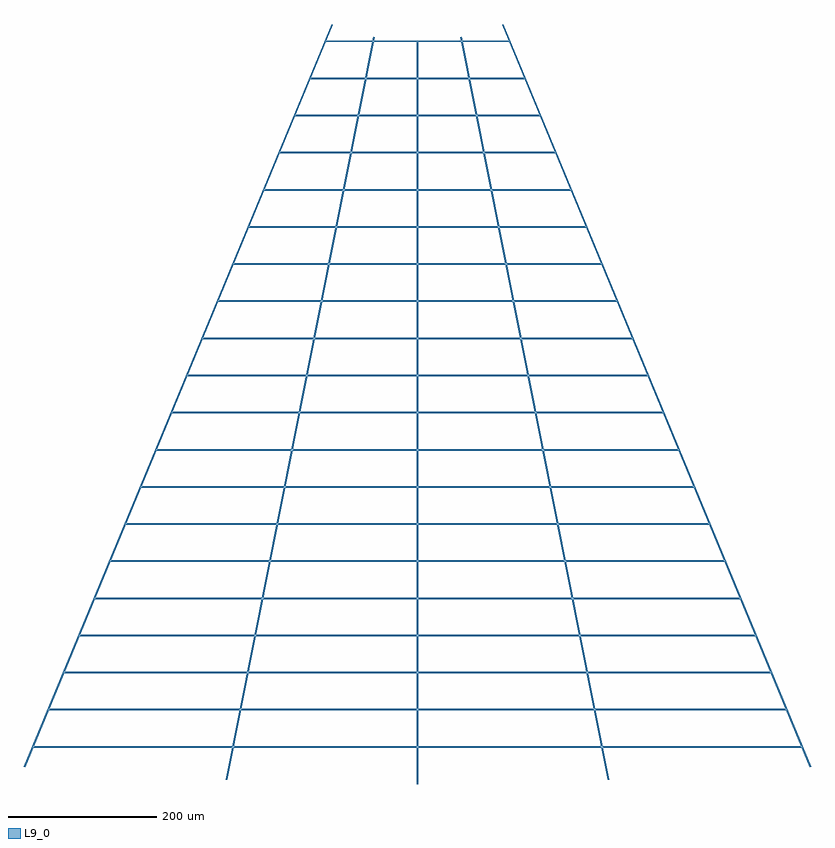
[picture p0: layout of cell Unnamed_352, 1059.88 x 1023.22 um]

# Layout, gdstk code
from math import pi, radians
import gdstk
lib = gdstk.Library(unit=1e-6, precision=1e-09)
def R(c, l, rs):  # rectangles x0, y0, x1, y1
    for r in rs: c.add(gdstk.rectangle(r[:2], r[2:], *l))
L9_0 = (9, 0)

unnamed_377 = lib.new_cell('Unnamed_377')
R(unnamed_377, L9_0, [(0,-1,1082.392,1)])

unnamed_362 = lib.new_cell('Unnamed_362')
R(unnamed_362, L9_0, [(0,-1,621.32,1)])

unnamed_374 = lib.new_cell('Unnamed_374')
R(unnamed_374, L9_0, [(0,-1,1019.591,1)])

unnamed_363 = lib.new_cell('Unnamed_363')
R(unnamed_363, L9_0, [(0,-1,662.742,1)])

unnamed_373 = lib.new_cell('Unnamed_373')
R(unnamed_373, L9_0, [(0,-1,1082.392,1)])

unnamed_376 = lib.new_cell('Unnamed_376')
R(unnamed_376, L9_0, [(0,-1,1019.591,1)])

unnamed_367 = lib.new_cell('Unnamed_367')
R(unnamed_367, L9_0, [(0,-1,828.427,1)])

unnamed_366 = lib.new_cell('Unnamed_366')
R(unnamed_366, L9_0, [(0,-1,787.006,1)])

unnamed_375 = lib.new_cell('Unnamed_375')
R(unnamed_375, L9_0, [(0,-1,1000,1)])

unnamed_365 = lib.new_cell('Unnamed_365')
R(unnamed_365, L9_0, [(0,-1,745.584,1)])

unnamed_364 = lib.new_cell('Unnamed_364')
R(unnamed_364, L9_0, [(0,-1,704.163,1)])

unnamed_371 = lib.new_cell('Unnamed_371')
R(unnamed_371, L9_0, [(0,-1,994.113,1)])

unnamed_361 = lib.new_cell('Unnamed_361')
R(unnamed_361, L9_0, [(0,-1,579.899,1)])

unnamed_370 = lib.new_cell('Unnamed_370')
R(unnamed_370, L9_0, [(0,-1,952.691,1)])

unnamed_360 = lib.new_cell('Unnamed_360')
R(unnamed_360, L9_0, [(0,-1,538.478,1)])

unnamed_369 = lib.new_cell('Unnamed_369')
R(unnamed_369, L9_0, [(0,-1,911.27,1)])

unnamed_359 = lib.new_cell('Unnamed_359')
R(unnamed_359, L9_0, [(0,-1,497.056,1)])

unnamed_368 = lib.new_cell('Unnamed_368')
R(unnamed_368, L9_0, [(0,-1,869.848,1)])

unnamed_358 = lib.new_cell('Unnamed_358')
R(unnamed_358, L9_0, [(0,-1,455.635,1)])

unnamed_357 = lib.new_cell('Unnamed_357')
R(unnamed_357, L9_0, [(0,-1,414.214,1)])

unnamed_355 = lib.new_cell('Unnamed_355')
R(unnamed_355, L9_0, [(0,-1,331.371,1)])

unnamed_354 = lib.new_cell('Unnamed_354')
R(unnamed_354, L9_0, [(0,-1,289.949,1)])

unnamed_356 = lib.new_cell('Unnamed_356')
R(unnamed_356, L9_0, [(0,-1,372.792,1)])

unnamed_372 = lib.new_cell('Unnamed_372')
R(unnamed_372, L9_0, [(0,-1,1035.534,1)])

unnamed_353 = lib.new_cell('Unnamed_353')
R(unnamed_353, L9_0, [(0,-1,248.528,1)])

unnamed_352 = lib.new_cell('Unnamed_352')
unnamed_352.add(gdstk.Reference(unnamed_377, (114.805,-277.164), rotation=radians(292.5)))
unnamed_352.add(gdstk.Reference(unnamed_362, (-310.66,-750)))
unnamed_352.add(gdstk.Reference(unnamed_374, (-58.527,-294.236), rotation=radians(258.75)))
unnamed_352.add(gdstk.Reference(unnamed_363, (-331.371,-800)))
unnamed_352.add(gdstk.Reference(unnamed_373, (-114.805,-277.164), rotation=radians(247.5)))
unnamed_352.add(gdstk.Reference(unnamed_376, (58.527,-294.236), rotation=radians(281.25)))
unnamed_352.add(gdstk.Reference(unnamed_367, (-414.214,-1000)))
unnamed_352.add(gdstk.Reference(unnamed_366, (-393.503,-950)))
unnamed_352.add(gdstk.Reference(unnamed_375, (0,-300), rotation=3*pi/2))
unnamed_352.add(gdstk.Reference(unnamed_365, (-372.792,-900)))
unnamed_352.add(gdstk.Reference(unnamed_364, (-352.082,-850)))
unnamed_352.add(gdstk.Reference(unnamed_371, (-497.056,-1200)))
unnamed_352.add(gdstk.Reference(unnamed_361, (-289.949,-700)))
unnamed_352.add(gdstk.Reference(unnamed_370, (-476.346,-1150)))
unnamed_352.add(gdstk.Reference(unnamed_360, (-269.239,-650)))
unnamed_352.add(gdstk.Reference(unnamed_369, (-455.635,-1100)))
unnamed_352.add(gdstk.Reference(unnamed_359, (-248.528,-600)))
unnamed_352.add(gdstk.Reference(unnamed_368, (-434.924,-1050)))
unnamed_352.add(gdstk.Reference(unnamed_358, (-227.817,-550)))
unnamed_352.add(gdstk.Reference(unnamed_357, (-207.107,-500)))
unnamed_352.add(gdstk.Reference(unnamed_355, (-165.685,-400)))
unnamed_352.add(gdstk.Reference(unnamed_354, (-144.975,-350)))
unnamed_352.add(gdstk.Reference(unnamed_356, (-186.396,-450)))
unnamed_352.add(gdstk.Reference(unnamed_372, (-517.767,-1250)))
unnamed_352.add(gdstk.Reference(unnamed_353, (-124.264,-300)))

lib.write_gds('Unnamed_352.gds')
